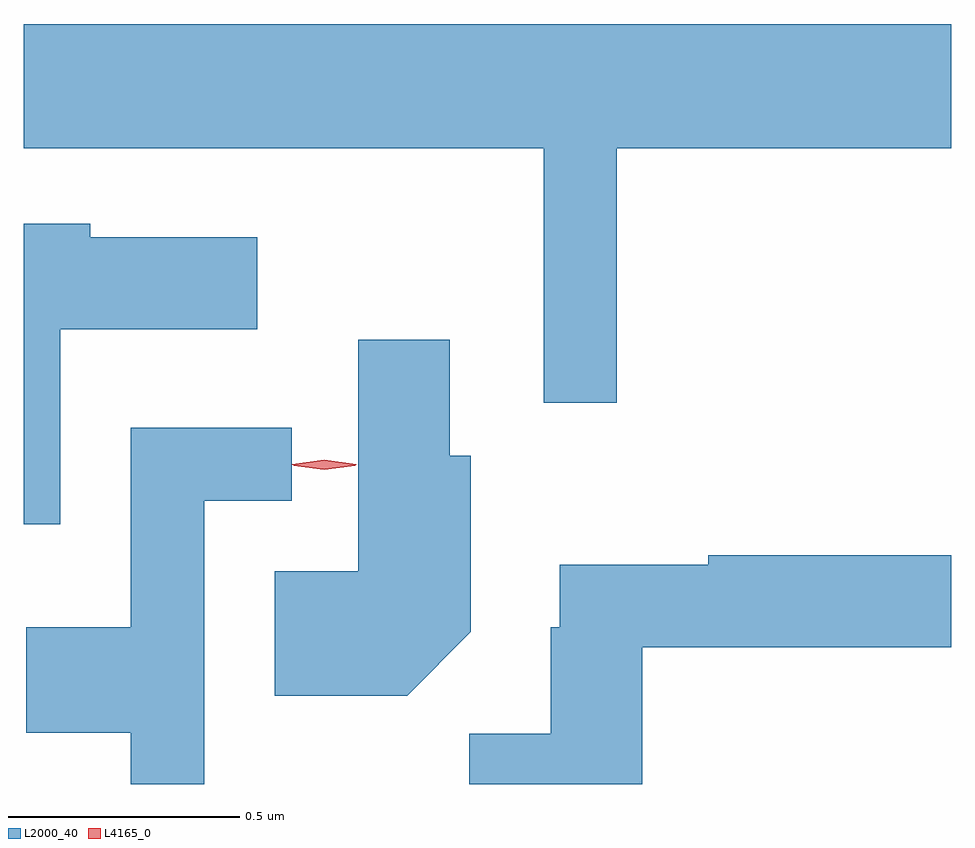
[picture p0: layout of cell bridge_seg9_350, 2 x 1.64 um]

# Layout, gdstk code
import gdstk
lib = gdstk.Library(unit=1e-6, precision=1e-09)
def P(c, l, *ps):  # polygons
    for p in ps: c.add(gdstk.Polygon(p, *l))
L2000_40 = (2000, 40)
L4165_0 = (4165, 0)

bridge_seg9_350 = lib.new_cell('bridge_seg9_350')
P(bridge_seg9_350, L2000_40, [(786.349,2056.196),(787.07,2056.196),(787.07,2056.464),(785.07,2056.464),(785.07,2056.196),(786.191,2056.196),(786.191,2055.648),(786.349,2055.648)],
  [(785.149,2055.806),(785.574,2055.806),(785.574,2056.004),(785.214,2056.004),(785.214,2056.034),(785.07,2056.034),(785.07,2055.386),(785.149,2055.386)],
  [(786.034,2055.154),(786.034,2055.534),(785.989,2055.534),(785.989,2055.784),(785.791,2055.784),(785.791,2055.284),(785.611,2055.284),(785.611,2055.016),(785.897,2055.016)],
  [(785.459,2055.436),(785.648,2055.436),(785.648,2055.594),(785.301,2055.594),(785.301,2055.164),(785.076,2055.164),(785.076,2054.936),(785.301,2054.936),(785.301,2054.826),(785.459,2054.826)],
  [(786.404,2055.121),(787.07,2055.121),(787.07,2055.319),(786.546,2055.319),(786.546,2055.299),(786.226,2055.299),(786.226,2055.164),(786.206,2055.164),(786.206,2054.934),(786.031,2054.934),(786.031,2054.826),(786.404,2054.826)])
P(bridge_seg9_350, L4165_0, [(785.718,2055.503),(785.652,2055.512),(785.652,2055.513),(785.652,2055.513),(785.718,2055.523),(785.785,2055.513),(785.785,2055.513),(785.785,2055.512)],
  [(785.718,2055.505),(785.649,2055.514),(785.648,2055.515),(785.649,2055.515),(785.718,2055.525),(785.787,2055.515),(785.787,2055.515),(785.787,2055.514)])

lib.write_gds('bridge_seg9_350.gds')
